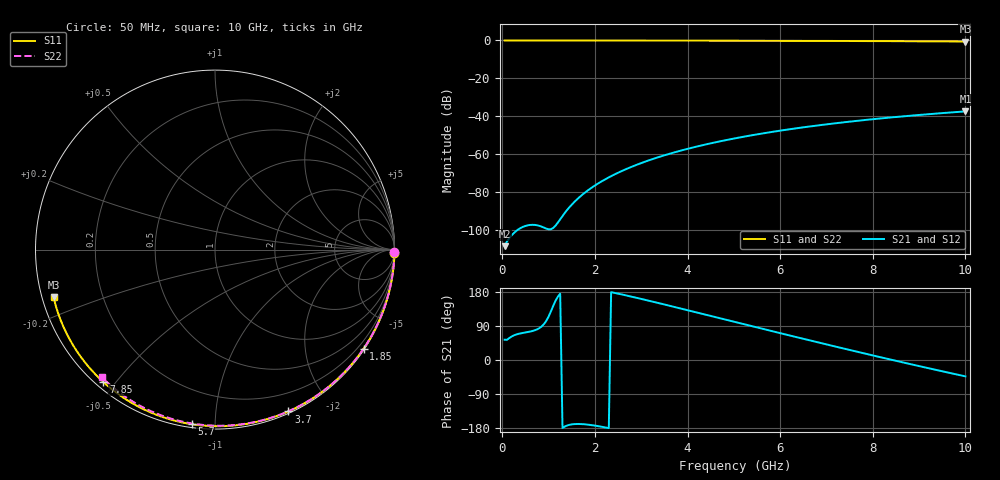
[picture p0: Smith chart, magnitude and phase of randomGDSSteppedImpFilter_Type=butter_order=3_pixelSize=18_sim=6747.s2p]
! freq	dB(S11)	phase(S11)	dB(S12)	phase(S12)
!  dB(S21)	phase(S21)	dB(S22)	phase(S22)
!S-par simulation data
#  GHz  S  DB  R 50
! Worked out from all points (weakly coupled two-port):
!   200 points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, 50 MHz to 10 GHz, reference 50 ohm
!   highest |S21| = -37.38 dB at 10 GHz (marker M1); lowest = -108.4 dB at 50 MHz (marker M2)
!   lowest |S11| = -0.6 dB at 10 GHz (marker M3), VSWR 31.20, Z = 1.64 - j7.21 ohm
!   |S11| at or under -10 dB: nowhere
!   |S22| runs from -0.4 to 0.0 dB; largest |S21 - S12| = 0
!   S11 on the Smith chart (normalised r, x): 50 MHz: open; 1.85 GHz: 0.03, -3.30; 3.7 GHz: 0.02, -1.55; 5.7 GHz: 0.02, -0.87; 7.85 GHz: 0.02, -0.46; 10 GHz: 0.03, -0.14
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0.05  -0.00 -0.9  -108.41 53.6  -108.41 53.6  -0.00 -0.8
0.45  -0.01 -8.3  -98.20 71.6  -98.20 71.6  -0.01 -6.8
0.85  -0.02 -15.7  -98.13 88.6  -98.13 88.6  -0.02 -12.8
1.3  -0.03 -23.8  -92.52 -179.4  -92.52 -179.4  -0.02 -19.6
1.75  -0.04 -31.9  -80.85 -169.4  -80.85 -169.4  -0.03 -26.2
1.8  -0.04 -32.8  -79.89 -169.9  -79.89 -169.9  -0.03 -26.9
1.85  -0.04 -33.7  -78.97 -170.6  -78.97 -170.6  -0.04 -27.7
2.15  -0.05 -39.0  -74.18 -176.3  -74.18 -176.3  -0.04 -32.1
2.5  -0.06 -45.2  -69.71 175.1  -69.71 175.1  -0.05 -37.1
2.9  -0.07 -52.1  -65.54 164.1  -65.54 164.1  -0.06 -42.8
3.4  -0.08 -60.6  -61.28 149.5  -61.28 149.5  -0.07 -49.9
3.7  -0.09 -65.6  -59.09 140.5  -59.09 140.5  -0.07 -54.1
4.35  -0.11 -76.3  -55.04 120.8  -55.04 120.8  -0.09 -62.9
5.05  -0.13 -87.5  -51.46 99.5  -51.46 99.5  -0.11 -72.2
5.7  -0.16 -97.6  -48.68 79.9  -48.68 79.9  -0.13 -80.6
6.2  -0.19 -105.3  -46.81 64.9  -46.81 64.9  -0.16 -86.9
6.7  -0.22 -112.9  -45.13 50.0  -45.13 50.0  -0.18 -93.1
7.25  -0.26 -121.2  -43.48 33.8  -43.48 33.8  -0.21 -99.7
7.85  -0.31 -130.1  -41.87 16.4  -41.87 16.4  -0.25 -106.8
8.35  -0.36 -137.7  -40.67 2.1  -40.67 2.1  -0.29 -112.7
9.2  -0.45 -150.7  -38.86 -21.6  -38.86 -21.6  -0.36 -122.4
10  -0.56 -163.6  -37.38 -43.2  -37.38 -43.2  -0.44 -131.4
